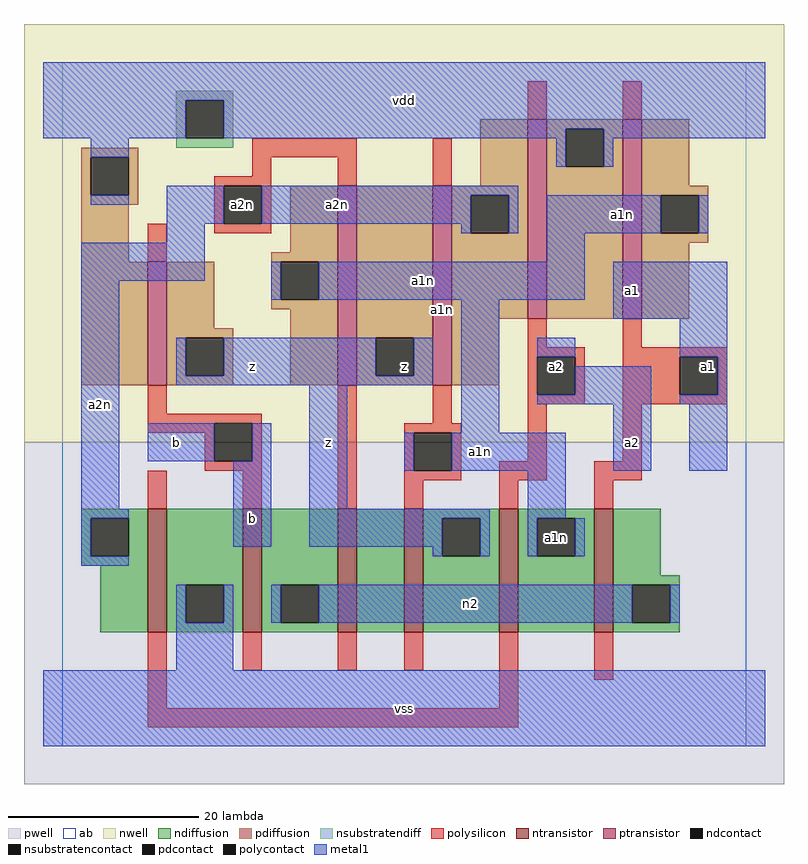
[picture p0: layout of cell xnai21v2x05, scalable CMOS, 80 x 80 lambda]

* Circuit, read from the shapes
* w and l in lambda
.subckt xnai21v2x05 a1 a1n a2 a2n b n2 vdd vss z
M1 vss a2 a2n VSUBS nfet w=13 l=2
M2 n2 b vss VSUBS nfet w=13 l=2
M3 n1 a2n n2 VSUBS nfet w=13 l=2
M4 z a1n n1 VSUBS nfet w=13 l=2
M5 a1n a2 z VSUBS nfet w=13 l=2
M6 n2 a1 a1n VSUBS nfet w=13 l=2
M7 z b vdd vdd pfet w=13 l=2
M8 z a2n a1n vdd pfet w=21 l=2
M9 a2n a1n z vdd pfet w=21 l=2
M10 vdd a2 a2n vdd pfet w=21 l=2
M11 a1n a1 vdd vdd pfet w=21 l=2
.ends

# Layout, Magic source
magic
tech scmos
<< ab >>
rect 0 0 72 72
<< pwell >>
rect -4 -4 76 32
<< nwell >>
rect -4 32 76 76
<< polysilicon >>
rect 49 66 51 70
rect 59 66 61 70
rect 20 62 31 64
rect 20 60 22 62
rect 16 59 22 60
rect 29 59 31 62
rect 39 59 41 64
rect 16 55 17 59
rect 21 55 22 59
rect 9 51 11 55
rect 16 54 22 55
rect 49 42 51 45
rect 59 42 61 45
rect 49 41 55 42
rect 9 35 11 38
rect 9 34 21 35
rect 9 33 16 34
rect 15 30 16 33
rect 20 30 21 34
rect 15 29 21 30
rect 9 25 11 29
rect 19 25 21 29
rect 29 25 31 38
rect 39 34 41 38
rect 49 37 50 41
rect 54 37 55 41
rect 49 36 55 37
rect 59 41 70 42
rect 59 37 65 41
rect 69 37 70 41
rect 59 36 70 37
rect 36 33 42 34
rect 36 29 37 33
rect 41 29 42 33
rect 49 30 51 36
rect 59 30 61 36
rect 36 28 42 29
rect 46 28 51 30
rect 56 28 61 30
rect 36 25 38 28
rect 46 25 48 28
rect 56 25 58 28
rect 9 4 11 12
rect 19 8 21 12
rect 29 8 31 12
rect 36 8 38 12
rect 46 4 48 12
rect 56 7 58 12
rect 9 2 48 4
<< ndiffusion >>
rect 2 24 9 25
rect 2 20 3 24
rect 7 20 9 24
rect 2 19 9 20
rect 4 12 9 19
rect 11 17 19 25
rect 11 13 13 17
rect 17 13 19 17
rect 11 12 19 13
rect 21 17 29 25
rect 21 13 23 17
rect 27 13 29 17
rect 21 12 29 13
rect 31 12 36 25
rect 38 24 46 25
rect 38 20 40 24
rect 44 20 46 24
rect 38 12 46 20
rect 48 24 56 25
rect 48 20 50 24
rect 54 20 56 24
rect 48 12 56 20
rect 58 18 63 25
rect 58 17 65 18
rect 58 13 60 17
rect 64 13 65 17
rect 58 12 65 13
<< pdiffusion >>
rect 2 62 8 63
rect 2 58 3 62
rect 7 58 8 62
rect 2 57 8 58
rect 44 59 49 66
rect 2 51 7 57
rect 24 52 29 59
rect 22 51 29 52
rect 2 38 9 51
rect 11 44 16 51
rect 22 47 23 51
rect 27 47 29 51
rect 22 46 29 47
rect 11 43 18 44
rect 11 39 13 43
rect 17 39 18 43
rect 11 38 18 39
rect 24 38 29 46
rect 31 43 39 59
rect 31 39 33 43
rect 37 39 39 43
rect 31 38 39 39
rect 41 58 49 59
rect 41 54 43 58
rect 47 54 49 58
rect 41 45 49 54
rect 51 65 59 66
rect 51 61 53 65
rect 57 61 59 65
rect 51 45 59 61
rect 61 59 66 66
rect 61 58 68 59
rect 61 54 63 58
rect 67 54 68 58
rect 61 53 68 54
rect 61 45 66 53
rect 41 38 46 45
<< metal1 >>
rect -2 68 74 72
rect -2 64 13 68
rect 17 65 74 68
rect 17 64 53 65
rect 3 62 7 64
rect 52 61 53 64
rect 57 64 74 65
rect 57 61 58 64
rect 3 57 7 58
rect 11 55 17 59
rect 21 58 48 59
rect 21 55 43 58
rect 11 53 15 55
rect 42 54 43 55
rect 47 54 48 58
rect 51 54 63 58
rect 67 54 68 58
rect 2 49 15 53
rect 51 51 55 54
rect 2 25 6 49
rect 22 47 23 51
rect 27 47 55 51
rect 12 39 13 43
rect 17 39 33 43
rect 37 39 39 43
rect 12 38 39 39
rect 9 30 16 34
rect 20 30 22 34
rect 2 24 7 25
rect 2 20 3 24
rect 18 21 22 30
rect 26 25 30 38
rect 42 33 46 47
rect 58 45 70 51
rect 50 41 54 43
rect 65 41 70 45
rect 54 37 62 40
rect 50 36 62 37
rect 69 37 70 41
rect 65 36 70 37
rect 36 29 37 33
rect 41 29 53 33
rect 58 29 62 36
rect 66 29 70 36
rect 26 24 45 25
rect 26 21 40 24
rect 39 20 40 21
rect 44 20 45 24
rect 49 24 53 29
rect 49 20 50 24
rect 54 20 55 24
rect 2 19 7 20
rect 12 13 13 17
rect 17 13 18 17
rect 22 13 23 17
rect 27 13 60 17
rect 64 13 65 17
rect 12 8 18 13
rect -2 0 74 8
<< ntransistor >>
rect 9 12 11 25
rect 19 12 21 25
rect 29 12 31 25
rect 36 12 38 25
rect 46 12 48 25
rect 56 12 58 25
<< ptransistor >>
rect 9 38 11 51
rect 29 38 31 59
rect 39 38 41 59
rect 49 45 51 66
rect 59 45 61 66
<< polycontact >>
rect 17 55 21 59
rect 16 30 20 34
rect 50 37 54 41
rect 65 37 69 41
rect 37 29 41 33
<< ndcontact >>
rect 3 20 7 24
rect 13 13 17 17
rect 23 13 27 17
rect 40 20 44 24
rect 50 20 54 24
rect 60 13 64 17
<< pdcontact >>
rect 3 58 7 62
rect 23 47 27 51
rect 13 39 17 43
rect 33 39 37 43
rect 43 54 47 58
rect 53 61 57 65
rect 63 54 67 58
<< nsubstratencontact >>
rect 13 64 17 68
<< nsubstratendiff >>
rect 12 68 18 69
rect 12 64 13 68
rect 17 64 18 68
rect 12 63 18 64
<< labels >>
rlabel polycontact 19 57 19 57 6 a2n
rlabel ptransistor 40 46 40 46 6 a1n
rlabel metal1 12 32 12 32 6 b
rlabel metal1 4 36 4 36 6 a2n
rlabel metal1 20 24 20 24 6 b
rlabel metal1 28 32 28 32 6 z
rlabel metal1 20 40 20 40 6 z
rlabel metal1 36 4 36 4 6 vss
rlabel metal1 44 31 44 31 6 a1n
rlabel ndcontact 52 22 52 22 6 a1n
rlabel polycontact 52 40 52 40 6 a2
rlabel pdcontact 36 40 36 40 6 z
rlabel metal1 38 49 38 49 6 a1n
rlabel metal1 29 57 29 57 6 a2n
rlabel metal1 36 68 36 68 6 vdd
rlabel metal1 43 15 43 15 6 n2
rlabel metal1 60 32 60 32 6 a2
rlabel polycontact 68 40 68 40 6 a1
rlabel metal1 60 48 60 48 6 a1
rlabel metal1 59 56 59 56 6 a1n
<< end >>
